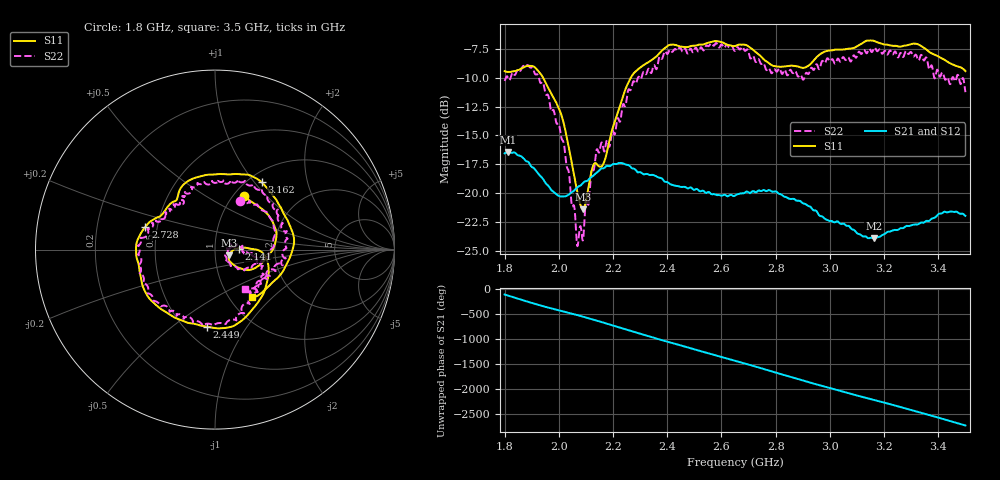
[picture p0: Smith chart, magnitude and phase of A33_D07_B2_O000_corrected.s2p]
! Created with skrf 1.9.0 (http://scikit-rf.org).
# Hz S RI R 50.0
!freq ReS11 ImS11 ReS21 ImS21 ReS12 ImS12 ReS22 ImS22
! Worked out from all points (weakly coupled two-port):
!   1601 points, 1.8 GHz to 3.5 GHz, reference 50 ohm
!   highest |S21| = -16.43 dB at 1.812 GHz (marker M1); lowest = -23.9 dB at 3.162 GHz (marker M2)
!   lowest |S11| = -21.4 dB at 2.089 GHz (marker M3), VSWR 1.19, Z = 58.5 - j3.65 ohm
!   |S11| at or under -10 dB: 1.942 GHz to 2.265 GHz (323.1 MHz wide, 15.4 % of centre)
!   |S22| runs from -24.6 to -7.0 dB; largest |S21 - S12| = 0.0028
!   S11 on the Smith chart (normalised r, x): 1.8 GHz: 1.12, +0.75; 2.141 GHz: 1.31, +0.00; 2.449 GHz: 0.64, -0.67; 2.728 GHz: 0.43, +0.13; 3.162 GHz: 1.15, +1.09; 3.5 GHz: 1.27, -0.76
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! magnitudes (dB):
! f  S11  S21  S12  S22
! 1.8 GHz  -9.4  -16.5  -16.5  -10.3
! 1.812 GHz  -9.5  -16.4  -16.4  -10.0
! 1.885 GHz  -9.0  -17.3  -17.3  -8.9
! 1.941 GHz  -10.0  -18.8  -18.8  -10.4
! 2.011 GHz  -13.4  -20.3  -20.3  -15.4
! 2.067 GHz  -19.7  -19.5  -19.5  -24.4
! 2.084 GHz  -21.3  -19.3  -19.2  -23.3
! 2.089 GHz  -21.4  -19.1  -19.2  -24.1
! 2.124 GHz  -17.8  -18.5  -18.5  -17.9
! 2.141 GHz  -17.5  -18.2  -18.2  -16.2
! 2.167 GHz  -17.3  -17.8  -17.8  -16.4
! 2.265 GHz  -10.0  -17.7  -17.7  -11.1
! 2.367 GHz  -8.0  -18.6  -18.6  -8.5
! 2.449 GHz  -7.3  -19.5  -19.5  -7.4
! 2.65 GHz  -7.2  -20.2  -20.2  -7.7
! 2.728 GHz  -7.8  -19.9  -19.9  -8.6
! 2.797 GHz  -9.0  -19.9  -19.8  -9.3
! 2.934 GHz  -8.7  -21.3  -21.3  -9.1
! 3.162 GHz  -6.8  -23.9  -23.9  -7.5
! 3.217 GHz  -7.2  -23.3  -23.3  -7.8
! 3.343 GHz  -7.3  -22.6  -22.5  -8.3
! 3.5 GHz  -9.4  -22.0  -22.0  -11.2
